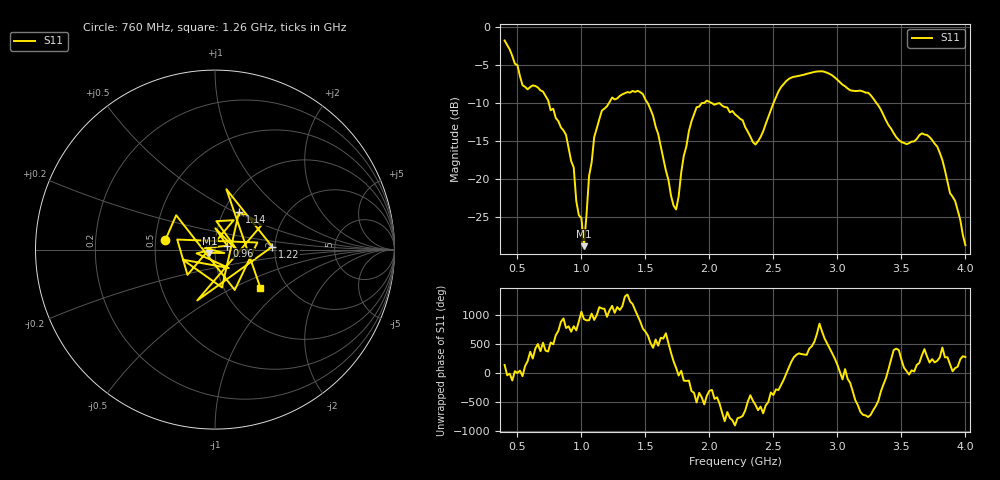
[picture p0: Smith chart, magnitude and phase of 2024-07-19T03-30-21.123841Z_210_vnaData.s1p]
!Created with skrf (http://scikit-rf.org).
# Hz S RI R 50.0
!freq ReS11 ImS11
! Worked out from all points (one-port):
!   181 points, 400 MHz to 4 GHz, reference 50 ohm
!   lowest |S11| = -28.8 dB at 1.02 GHz (marker M1), VSWR 1.07, Z = 46.9 - j1.72 ohm
!   |S11| at or under -10 dB: 745 MHz to 1.217 GHz (472 MHz wide, 48.1 % of centre); 2.013 GHz to 2.502 GHz (488.7 MHz wide, 21.7 % of centre); 3.304 GHz to end of sweep (the widest 3 of 4)
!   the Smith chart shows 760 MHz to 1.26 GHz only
!   S11 on the Smith chart (normalised r, x): 760 MHz: 0.56, +0.06; 960 MHz: 1.14, +0.05; 1.14 GHz: 1.18, +0.52; 1.22 GHz: 1.93, +0.07; 1.26 GHz: 1.47, -0.71
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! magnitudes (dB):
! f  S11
! 400 MHz  -1.8
! 540 MHz  -7.7
! 760 MHz  -11.0
! 860 MHz  -13.6
! 940 MHz  -18.5
! 960 MHz  -22.9
! 1 GHz  -25.2
! 1.02 GHz  -28.8
! 1.06 GHz  -19.6
! 1.14 GHz  -12.2
! 1.22 GHz  -9.9
! 1.26 GHz  -9.6
! 1.3 GHz  -9.1
! 1.48 GHz  -8.9
! 1.6 GHz  -14.1
! 1.72 GHz  -23.5
! 1.76 GHz  -22.3
! 1.8 GHz  -17.0
! 1.9 GHz  -10.6
! 2.2 GHz  -11.5
! 2.36 GHz  -15.5
! 2.54 GHz  -8.5
! 2.66 GHz  -6.6
! 3.1 GHz  -8.4
! 3.24 GHz  -8.7
! 3.56 GHz  -15.3
! 3.78 GHz  -15.8
! 4 GHz  -28.7
